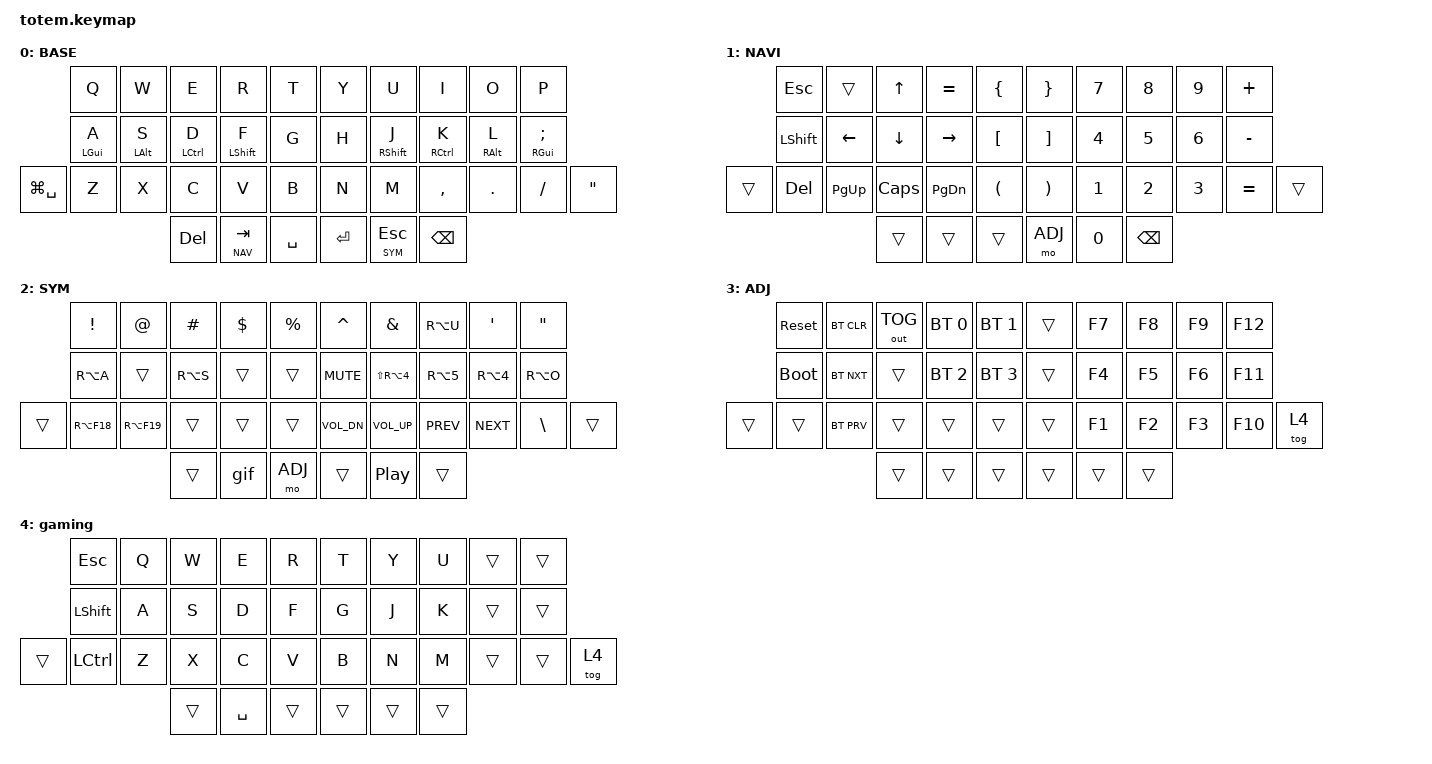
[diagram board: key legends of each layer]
//
//                                                        ▀▀▀▀▀     ▀▀▀▀▀          ▀▀█▀▀
//                                                        ▄▀▀▀▄  ▄  ▄▀▀▀▄  ▄  ▄▀▀▀▄  █  ▄▀▀▀▄
//                                                        █   █  █  █   █  █  █   █  █  █   █
//                                                         ▀▀▀   █   ▀▀▀   █   ▀▀▀   ▀   ▀▀▀
//                                                               █      ▄▄▄█▄▄▄    █   █  
//                                                               ▀      █  █  █     █▄█
//                                                             ▀▀▀▀▀    █  █  █      ▀
//                                                                      ▀  ▀  ▀
//
// ▄▄▄▄▄▄▄▄▄▄▄▄▄▄▄▄▄▄▄▄▄▄▄▄▄▄▄▄▄▄▄▄▄▄▄▄▄▄▄▄▄▄▄▄▄▄▄▄▄▄▄▄▄▄▄▄▄▄▄▄▄▄▄▄▄▄▄▄▄▄▄▄▄▄▄▄▄▄▄▄▄▄▄▄▄▄▄▄▄▄▄▄▄▄▄▄▄▄▄▄▄▄▄▄▄▄▄▄▄▄▄▄▄▄▄▄▄▄▄▄▄▄▄▄▄▄▄▄▄▄▄▄▄▄▄▄▄▄▄▄▄▄▄▄▄▄▄▄▄

#include <behaviors.dtsi>
#include <dt-bindings/zmk/bt.h>
#include <dt-bindings/zmk/keys.h>
#include <dt-bindings/zmk/outputs.h>

#define BASE 0
#define NAV  1
#define SYM  2
#define ADJ  3

&mt {
    quick-tap-ms = <100>;
    global-quick-tap;
    flavor = "tap-preferred";
    tapping-term-ms = <170>;
};

/ {
    combos {
        compatible = "zmk,combos";

        combo_esc {
            timeout-ms = <50>;
            key-positions = <0 1>;
            bindings = <&kp ESC>;
        };
    };

    macros {
        gif: gif {
            label = "giphy";
            compatible = "zmk,behavior-macro";
            #binding-cells = <0>;
            bindings =
                <&macro_press>,
                <&kp LSHFT>,
                <&macro_tap>,
                <&kp N2>,
                <&macro_release>,
                <&kp LSHFT>,
                <&macro_tap>,
                <&kp G &kp I &kp F>;
        };
    };

    keymap {
        compatible = "zmk,keymap";

        // ▄▄▄▄▄▄▄▄▄▄▄▄▄▄▄▄▄▄▄▄▄▄▄▄▄▄▄▄▄▄▄▄▄▄▄▄▄▄▄▄▄▄▄▄▄▄▄▄▄▄▄▄▄▄▄▄▄▄▄▄▄▄▄▄▄▄▄▄▄▄▄▄▄▄▄▄▄▄▄▄▄▄▄▄▄▄▄▄▄▄▄▄▄▄▄▄▄▄▄▄▄▄▄▄▄▄▄▄▄▄▄▄▄▄▄▄▄▄▄▄▄▄▄▄▄▄▄▄▄▄▄▄▄▄▄▄▄▄▄▄▄▄▄▄▄▄▄▄▄

        base_layer {
            // ┏━━━━━━━━━━━━━━━━━━━━━━━━━━━━━━━━━━━━━━━┓

            label = "BASE";

            // ┗━━━━━━━━━━━━━━━━━━━━━━━━━━━━━━━━━━━━━━━┛
            //             ┏━━━━━━━━━━━┳━━━━━━━━━━━┳━━━━━━━━━━━┳━━━━━━━━━━━┳━━━━━━━━━━━┓   ┏━━━━━━━━━━━┳━━━━━━━━━━━┳━━━━━━━━━━━┳━━━━━━━━━━━┳━━━━━━━━━━━┓
            //             ┃     Q     ┃     W     ┃     E     ┃     R     ┃     T     ┃   ┃     Y     ┃     U     ┃     I     ┃     O     ┃     P     ┃
            //             ┣━━━━━━━━━━━╋━━━━━━━━━━━╋━━━━━━━━━━━╋━━━━━━━━━━━╋━━━━━━━━━━━┫   ┣━━━━━━━━━━━╋━━━━━━━━━━━╋━━━━━━━━━━━╋━━━━━━━━━━━╋━━━━━━━━━━━┫
            //             ┃     A     ┃     S     ┃     D     ┃     F     ┃     G     ┃   ┃     H     ┃     J     ┃     K     ┃     L     ┃     ;     ┃
            // ┏━━━━━━━━━━━╋━━━━━━━━━━━╋━━━━━━━━━━━╋━━━━━━━━━━━╋━━━━━━━━━━━╋━━━━━━━━━━━┫   ┣━━━━━━━━━━━╋━━━━━━━━━━━╋━━━━━━━━━━━╋━━━━━━━━━━━╋━━━━━━━━━━━╋━━━━━━━━━━━┓
            // ┃     Q     ┃     Z     ┃     X     ┃     C     ┃     V     ┃     B     ┃   ┃     N     ┃     M     ┃     ,     ┃     .     ┃     /     ┃     \     ┃
            // ┗━━━━━━━━━━━┻━━━━━━━━━━━┻━━━━━━━━━━━╋━━━━━━━━━━━╋━━━━━━━━━━━╋━━━━━━━━━━━┫   ┣━━━━━━━━━━━╋━━━━━━━━━━━╋━━━━━━━━━━━╋━━━━━━━━━━━┻━━━━━━━━━━━┻━━━━━━━━━━━┛
            //                                     ┃    DEL    ┃  TAB/NAV  ┃    SPC    ┃   ┃   ENTER   ┃  ESC/SYM  ┃   BSPC    ┃
            //                                     ┗━━━━━━━━━━━┻━━━━━━━━━━━┻━━━━━━━━━━━┛   ┗━━━━━━━━━━━┻━━━━━━━━━━━┻━━━━━━━━━━━┛

            bindings = <
               &kp Q       &kp W       &kp E        &kp R        &kp T        &kp Y    &kp U        &kp I        &kp O       &kp P
               &mt LGUI A  &mt LALT S  &mt LCTRL D  &mt LSHFT F  &kp G        &kp H    &mt RSHFT J  &mt RCTRL K  &mt RALT L  &mt RGUI SEMI
&kp LG(SPACE)  &kp Z       &kp X       &kp C        &kp V        &kp B        &kp N    &kp M        &kp COMMA    &kp DOT     &kp FSLH       &kp DOUBLE_QUOTES
                                       &kp DEL      &lt NAV TAB  &kp SPACE    &kp RET  &lt SYM ESC  &kp BSPC
            >;
        };

        // ▄▄▄▄▄▄▄▄▄▄▄▄▄▄▄▄▄▄▄▄▄▄▄▄▄▄▄▄▄▄▄▄▄▄▄▄▄▄▄▄▄▄▄▄▄▄▄▄▄▄▄▄▄▄▄▄▄▄▄▄▄▄▄▄▄▄▄▄▄▄▄▄▄▄▄▄▄▄▄▄▄▄▄▄▄▄▄▄▄▄▄▄▄▄▄▄▄▄▄▄▄▄▄▄▄▄▄▄▄▄▄▄▄▄▄▄▄▄▄▄▄▄▄▄▄▄▄▄▄▄▄▄▄▄▄▄▄▄▄▄▄▄▄▄▄▄▄▄▄

        nav_layer {
            // ┏━━━━━━━━━━━━━━━━━━━━━━━━━━━━━━━━━━━━━━━┓

            label = "NAVI";

            // ┗━━━━━━━━━━━━━━━━━━━━━━━━━━━━━━━━━━━━━━━┛
            //             ┏━━━━━━━━━━━┳━━━━━━━━━━━┳━━━━━━━━━━━┳━━━━━━━━━━━┳━━━━━━━━━━━┓   ┏━━━━━━━━━━━┳━━━━━━━━━━━┳━━━━━━━━━━━┳━━━━━━━━━━━┳━━━━━━━━━━━┓
            //             ┃           ┃           ┃     UP    ┃           ┃     {     ┃   ┃     }     ┃     7     ┃     8     ┃     9     ┃     +     ┃
            //             ┣━━━━━━━━━━━╋━━━━━━━━━━━╋━━━━━━━━━━━╋━━━━━━━━━━━╋━━━━━━━━━━━┫   ┣━━━━━━━━━━━╋━━━━━━━━━━━╋━━━━━━━━━━━╋━━━━━━━━━━━╋━━━━━━━━━━━┫
            //             ┃   SHIFT   ┃   LEFT    ┃    DOWN   ┃   RIGHT   ┃     [     ┃   ┃     ]     ┃     4     ┃     5     ┃     6     ┃     -     ┃
            // ┏━━━━━━━━━━━╋━━━━━━━━━━━╋━━━━━━━━━━━╋━━━━━━━━━━━╋━━━━━━━━━━━╋━━━━━━━━━━━┫   ┣━━━━━━━━━━━╋━━━━━━━━━━━╋━━━━━━━━━━━╋━━━━━━━━━━━╋━━━━━━━━━━━╋━━━━━━━━━━━┓
            // ┃           ┃           ┃   P UP    ┃  C LOCK   ┃  P DOWN   ┃     (     ┃   ┃     )     ┃     1     ┃     2     ┃     3     ┃     *     ┃           ┃
            // ┗━━━━━━━━━━━┻━━━━━━━━━━━┻━━━━━━━━━━━╋━━━━━━━━━━━╋━━━━━━━━━━━╋━━━━━━━━━━━┫   ┣━━━━━━━━━━━╋━━━━━━━━━━━╋━━━━━━━━━━━╋━━━━━━━━━━━┻━━━━━━━━━━━┻━━━━━━━━━━━┛
            //                                     ┃           ┃    TAB    ┃    SPC    ┃   ┃    DEL    ┃     0     ┃           ┃
            //                                     ┗━━━━━━━━━━━┻━━━━━━━━━━━┻━━━━━━━━━━━┛   ┗━━━━━━━━━━━┻━━━━━━━━━━━┻━━━━━━━━━━━┛

            bindings = <
        &kp ESC    &trans     &kp UP    &kp EQUAL  &kp LBRC    &kp RBRC  &kp N7  &kp N8         &kp N9  &kp PLUS
        &kp LSHFT  &kp LEFT   &kp DOWN  &kp RIGHT  &kp LBKT    &kp RBKT  &kp N4  &kp N5         &kp N6  &kp MINUS
&trans  &kp DEL    &kp PG_UP  &kp CAPS  &kp PG_DN  &kp LPAR    &kp RPAR  &kp N1  &kp N2         &kp N3  &kp EQUAL  &trans
                              &trans    &trans     &trans      &mo ADJ   &kp N0  &kp BACKSPACE
            >;
        };

        // ▄▄▄▄▄▄▄▄▄▄▄▄▄▄▄▄▄▄▄▄▄▄▄▄▄▄▄▄▄▄▄▄▄▄▄▄▄▄▄▄▄▄▄▄▄▄▄▄▄▄▄▄▄▄▄▄▄▄▄▄▄▄▄▄▄▄▄▄▄▄▄▄▄▄▄▄▄▄▄▄▄▄▄▄▄▄▄▄▄▄▄▄▄▄▄▄▄▄▄▄▄▄▄▄▄▄▄▄▄▄▄▄▄▄▄▄▄▄▄▄▄▄▄▄▄▄▄▄▄▄▄▄▄▄▄▄▄▄▄▄▄▄▄▄▄▄▄▄▄

        sim_layer {
            // ┏━━━━━━━━━━━━━━━━━━━━━━━━━━━━━━━━━━━━━━━┓

            label = "SYM";

            // ┗━━━━━━━━━━━━━━━━━━━━━━━━━━━━━━━━━━━━━━━┛
            //             ┏━━━━━━━━━━━┳━━━━━━━━━━━┳━━━━━━━━━━━┳━━━━━━━━━━━┳━━━━━━━━━━━┓   ┏━━━━━━━━━━━┳━━━━━━━━━━━┳━━━━━━━━━━━┳━━━━━━━━━━━┳━━━━━━━━━━━┓
            //             ┃     !     ┃     @     ┃     #     ┃     $     ┃     %     ┃   ┃     ˆ     ┃     &     ┃     Ü     ┃     '     ┃     "     ┃
            //             ┣━━━━━━━━━━━╋━━━━━━━━━━━╋━━━━━━━━━━━╋━━━━━━━━━━━╋━━━━━━━━━━━┫   ┣━━━━━━━━━━━╋━━━━━━━━━━━╋━━━━━━━━━━━╋━━━━━━━━━━━╋━━━━━━━━━━━┫
            //             ┃     Ä     ┃           ┃    SZ     ┃           ┃           ┃   ┃   MUTE    ┃   YEN     ┃   EURO    ┃  POUND    ┃     Ö     ┃
            // ┏━━━━━━━━━━━╋━━━━━━━━━━━╋━━━━━━━━━━━╋━━━━━━━━━━━╋━━━━━━━━━━━╋━━━━━━━━━━━┫   ┣━━━━━━━━━━━╋━━━━━━━━━━━╋━━━━━━━━━━━╋━━━━━━━━━━━╋━━━━━━━━━━━╋━━━━━━━━━━━┓
            // ┃           ┃  EMAIL1   ┃  EMAIL2   ┃           ┃           ┃           ┃   ┃   VOL-    ┃   VOL+    ┃   LAST    ┃   NEXT    ┃     \     ┃           ┃
            // ┗━━━━━━━━━━━┻━━━━━━━━━━━┻━━━━━━━━━━━╋━━━━━━━━━━━╋━━━━━━━━━━━╋━━━━━━━━━━━┫   ┣━━━━━━━━━━━╋━━━━━━━━━━━╋━━━━━━━━━━━╋━━━━━━━━━━━┻━━━━━━━━━━━┻━━━━━━━━━━━┛
            //                                     ┃           ┃    GIF    ┃    ADJ    ┃   ┃           ┃ PlayPause ┃           ┃
            //                                     ┗━━━━━━━━━━━┻━━━━━━━━━━━┻━━━━━━━━━━━┛   ┗━━━━━━━━━━━┻━━━━━━━━━━━┻━━━━━━━━━━━┛

            bindings = <
        &kp EXCL     &kp AT       &kp HASH   &kp DLLR  &kp PRCNT    &kp CARET     &kp AMPS        &kp RA(U)   &kp SQT     &kp DQT
        &kp RA(A)    &trans       &kp RA(S)  &trans    &trans       &kp C_MUTE    &kp LS(RA(N4))  &kp RA(N5)  &kp RA(N4)  &kp RA(O)
&trans  &kp RA(F18)  &kp RA(F19)  &trans     &trans    &trans       &kp C_VOL_DN  &kp C_VOL_UP    &kp C_PREV  &kp C_NEXT  &kp BSLH   &trans
                                  &trans     &gif      &mo ADJ      &trans        &kp C_PP        &trans
            >;
        };

        // ▄▄▄▄▄▄▄▄▄▄▄▄▄▄▄▄▄▄▄▄▄▄▄▄▄▄▄▄▄▄▄▄▄▄▄▄▄▄▄▄▄▄▄▄▄▄▄▄▄▄▄▄▄▄▄▄▄▄▄▄▄▄▄▄▄▄▄▄▄▄▄▄▄▄▄▄▄▄▄▄▄▄▄▄▄▄▄▄▄▄▄▄▄▄▄▄▄▄▄▄▄▄▄▄▄▄▄▄▄▄▄▄▄▄▄▄▄▄▄▄▄▄▄▄▄▄▄▄▄▄▄▄▄▄▄▄▄▄▄▄▄▄▄▄▄▄▄▄▄

        adjust_layer {
            // ┏━━━━━━━━━━━━━━━━━━━━━━━━━━━━━━━━━━━━━━━┓

            label = "ADJ";

            // ┗━━━━━━━━━━━━━━━━━━━━━━━━━━━━━━━━━━━━━━━┛
            //             ┏━━━━━━━━━━━┳━━━━━━━━━━━┳━━━━━━━━━━━┳━━━━━━━━━━━┳━━━━━━━━━━━┓   ┏━━━━━━━━━━━┳━━━━━━━━━━━┳━━━━━━━━━━━┳━━━━━━━━━━━┳━━━━━━━━━━━┓
            //             ┃   RESET   ┃ BT CLEAR  ┃  OUT TOG  ┃   BT P0   ┃   BT P1   ┃   ┃           ┃    F7     ┃    F8     ┃    F9     ┃    F12    ┃
            //             ┣━━━━━━━━━━━╋━━━━━━━━━━━╋━━━━━━━━━━━╋━━━━━━━━━━━╋━━━━━━━━━━━┫   ┣━━━━━━━━━━━╋━━━━━━━━━━━╋━━━━━━━━━━━╋━━━━━━━━━━━╋━━━━━━━━━━━┫
            //             ┃ BOOTLOAD  ┃ BT NEXT   ┃           ┃   BT P2   ┃   BT P3   ┃   ┃           ┃    F4     ┃    F5     ┃    F6     ┃    F11    ┃
            // ┏━━━━━━━━━━━╋━━━━━━━━━━━╋━━━━━━━━━━━╋━━━━━━━━━━━╋━━━━━━━━━━━╋━━━━━━━━━━━┫   ┣━━━━━━━━━━━╋━━━━━━━━━━━╋━━━━━━━━━━━╋━━━━━━━━━━━╋━━━━━━━━━━━╋━━━━━━━━━━━┓
            // ┃           ┃           ┃ BT PREV   ┃           ┃           ┃           ┃   ┃           ┃    F1     ┃    F2     ┃    F3     ┃    F10    ┃           ┃
            // ┗━━━━━━━━━━━┻━━━━━━━━━━━┻━━━━━━━━━━━╋━━━━━━━━━━━╋━━━━━━━━━━━╋━━━━━━━━━━━┫   ┣━━━━━━━━━━━╋━━━━━━━━━━━╋━━━━━━━━━━━╋━━━━━━━━━━━┻━━━━━━━━━━━┻━━━━━━━━━━━┛
            //                                     ┃           ┃           ┃           ┃   ┃           ┃           ┃           ┃
            //                                     ┗━━━━━━━━━━━┻━━━━━━━━━━━┻━━━━━━━━━━━┛   ┗━━━━━━━━━━━┻━━━━━━━━━━━┻━━━━━━━━━━━┛

            bindings = <
        &sys_reset   &bt BT_CLR  &out OUT_TOG  &bt BT_SEL 0  &bt BT_SEL 1    &trans  &kp F7  &kp F8  &kp F9  &kp F12
        &bootloader  &bt BT_NXT  &trans        &bt BT_SEL 2  &bt BT_SEL 3    &trans  &kp F4  &kp F5  &kp F6  &kp F11
&trans  &trans       &bt BT_PRV  &trans        &trans        &trans          &trans  &kp F1  &kp F2  &kp F3  &kp F10  &tog 4
                                 &trans        &trans        &trans          &trans  &trans  &trans
            >;
        };

        gaming {
            bindings = <
        &kp ESCAPE  &kp Q  &kp W   &kp E      &kp R     &kp T   &kp Y   &kp U   &trans  &trans
        &kp LSHFT   &kp A  &kp S   &kp D      &kp F     &kp G   &kp J   &kp K   &trans  &trans
&trans  &kp LCTRL   &kp Z  &kp X   &kp C      &kp V     &kp B   &kp N   &kp M   &trans  &trans  &tog 4
                           &trans  &kp SPACE  &trans    &trans  &trans  &trans
            >;
        };
    };
};
